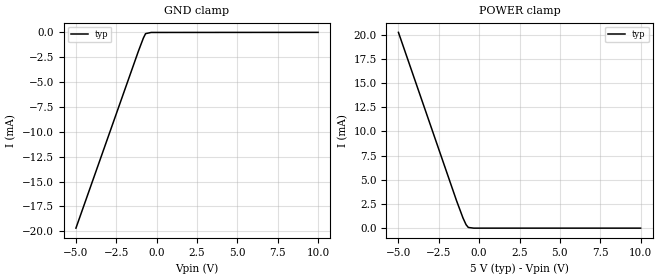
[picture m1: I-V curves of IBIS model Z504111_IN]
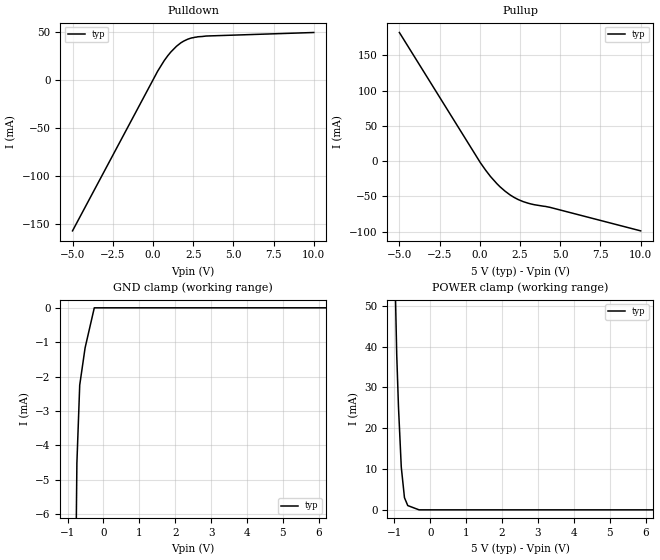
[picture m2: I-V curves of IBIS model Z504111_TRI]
| YOU ARE ONLY AUTHORIZED TO USE THIS SOFTWARE
| ACCORDING TO LICENSOR'S LICENSE RESTRICTIONS.
[IBIS Ver] 3.1
[File Name] mc54hc534j.ibs
[File Rev] 2.0
[Source] Measured and created by ICX Technology
[Date] Friday 7/14/00 9:08:07 AM
[Copyright]
| (C) COPYRIGHT 1993-2000
| MENTOR GRAPHICS CORPORATION
| ICX STANDARD LIBRARY, ICX PROJECT MODELING,
| ICX CUSTOM MODELING, ICX VENDOR MODEL
| ALL RIGHTS RESERVED.
| THE FOLLOWING ARE TRADEMARKS OR SERVICE MARKS OF
| MENTOR GRAPHICS CORPORATION:ICX (R), ICX STANDARD
| LIBRARY(R), ICX PROJECT MODELING(R), ICX CUSTOM
| MODELING(R), qualityIBIS(TM), MODELVIEWER(TM),
| AND MODELEDITOR(TM)
| ALL COPIES OF SOFTWARE, INCLUDING BUT NOT LIMITED TO
| ANY MODIFICATIONS, ENHANCEMENTS OR DERIVATIVE WORKS,
| MUST CONTAIN ALL MENTOR GRAPHICS CORPORATION'S
| NOTICES AND LEGENDS, INCLUDING THOSE EMBEDDED IN
| SOFTWARE AND THOSE AFFIXED TO SOFTWARE MEDIUM
| AND CONTAINER, AS RECEIVED FROM MENTOR GRAPHICS
| CORPORATION.
|  ZAP Model Builder 2.7
[Component] MC54HC534J
[Manufacturer] OnSemiconductor
[Package]
| variable   typ   min   max
R_pkg  .216ohms NA NA
L_pkg  5.76nH NA NA
C_pkg  2.193pF NA NA
[Pin] signal_name  model_name  R_pin  L_pin C_pin
1 _OE Z504111_IN .232 9.76n 3.179p
2 _Q0 Z504111_TRI .224 7.26n 2.686p
3 D0 Z504111_IN .216 5.26n 2.193p
4 D1 Z504111_IN .208 3.76n 1.7p
5 _Q1 Z504111_TRI .2 2.76n 1.207p
6 _Q2 Z504111_TRI .2 2.76n 1.207p
7 D2 Z504111_IN .208 3.76n 1.7p
8 D3 Z504111_IN .216 5.26n 2.193p
9 _Q3 Z504111_TRI .224 7.26n 2.686p
10 GND GND .232 9.76n 3.179p
11 CLK Z504111_IN .232 9.76n 3.179p
12 _Q4 Z504111_TRI .224 7.26n 2.686p
13 D4 Z504111_IN .216 5.26n 2.193p
14 D5 Z504111_IN .208 3.76n 1.7p
15 _Q5 Z504111_TRI .2 2.76n 1.207p
16 _Q6 Z504111_TRI .2 2.76n 1.207p
17 D6 Z504111_IN .208 3.76n 1.7p
18 D7 Z504111_IN .216 5.26n 2.193p
19 _Q7 Z504111_TRI .224 7.26n 2.686p
20 VCC POWER .232 9.76n 3.179p
| Models and submodels in the file (2): Z504111_IN (Input), Z504111_TRI (3-state)
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| (C) COPYRIGHT 1993-2000
| MENTOR GRAPHICS CORPORATION
| ICX STANDARD LIBRARY, ICX PROJECT MODELING,
| ICX CUSTOM MODELING, ICX VENDOR MODEL
| ALL RIGHTS RESERVED.
| THE FOLLOWING ARE TRADEMARKS OR SERVICE MARKS OF
| MENTOR GRAPHICS CORPORATION:ICX (R), ICX STANDARD
| LIBRARY(R), ICX PROJECT MODELING(R), ICX CUSTOM
| MODELING(R), qualityIBIS(TM), MODELVIEWER(TM),
| AND MODELEDITOR(TM)
| ALL COPIES OF SOFTWARE, INCLUDING BUT NOT LIMITED TO
| ANY MODIFICATIONS, ENHANCEMENTS OR DERIVATIVE WORKS,
| MUST CONTAIN ALL MENTOR GRAPHICS CORPORATION'S
| NOTICES AND LEGENDS, INCLUDING THOSE EMBEDDED IN
| SOFTWARE AND THOSE AFFIXED TO SOFTWARE MEDIUM
| AND CONTAINER, AS RECEIVED FROM MENTOR GRAPHICS
| CORPORATION.
| Model Application Version 1.89 2/18/99.
[Model] Z504111_IN
Model_type Input
Vinl = 1.000V
Vinh = 3.500V
C_comp 4.000pF NA NA
| variable typ   min   max
[Voltage Range] 5.000V NA NA
[GND Clamp Reference] 0.000V NA NA
[POWER Clamp Reference] 5.000V NA NA
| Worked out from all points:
|   POWER clamp passes 1 mA (typ) near -0.99 V on its own axis
[GND Clamp]
-5V       -19.69mA   NA         NA
-1.132V   -1.896mA   NA         NA
-822.7mV  -570.6uA   NA         NA
-686.2mV  -125.8uA   NA         NA
-343.1mV  -5.404uA   NA         NA
10V       2.724uA    NA         NA
[POWER Clamp]
-5V       20.23mA    NA         NA
-1.404V   2.852mA    NA         NA
-1.002V   1.053mA    NA         NA
-810mV    355.5uA    NA         NA
-671mV    70.46uA    NA         NA
-335.5mV  0A         NA         NA
10V       0A         NA         NA
| (C) COPYRIGHT 1993-2000
| MENTOR GRAPHICS CORPORATION
| ICX STANDARD LIBRARY, ICX PROJECT MODELING,
| ICX CUSTOM MODELING, ICX VENDOR MODEL
| ALL RIGHTS RESERVED.
| THE FOLLOWING ARE TRADEMARKS OR SERVICE MARKS OF
| MENTOR GRAPHICS CORPORATION:ICX (R), ICX STANDARD
| LIBRARY(R), ICX PROJECT MODELING(R), ICX CUSTOM
| MODELING(R), qualityIBIS(TM), MODELVIEWER(TM),
| AND MODELEDITOR(TM)
| ALL COPIES OF SOFTWARE, INCLUDING BUT NOT LIMITED TO
| ANY MODIFICATIONS, ENHANCEMENTS OR DERIVATIVE WORKS,
| MUST CONTAIN ALL MENTOR GRAPHICS CORPORATION'S
| NOTICES AND LEGENDS, INCLUDING THOSE EMBEDDED IN
| SOFTWARE AND THOSE AFFIXED TO SOFTWARE MEDIUM
| AND CONTAINER, AS RECEIVED FROM MENTOR GRAPHICS
| CORPORATION.
| Model Application Version 1.89 2/18/99.
[Model] Z504111_TRI
Model_type 3-state
Vref=0.000V
Rref=500.0Mohms
Cref=50.00pF
Vmeas=2.500V
C_comp 8.000pF NA NA
| variable typ   min   max
[Voltage Range] 5.000V NA NA
[POWER Clamp Reference] 5.000V NA NA
[Pullup Reference] 5.000V NA NA
[Pulldown Reference] 0.000V NA NA
[GND Clamp Reference] 0.000V NA NA
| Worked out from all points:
|   slope of the pulldown table from 0 to 0.75 V, typ, clamps not added: 35.1 ohm
|   slope of the pullup table from 0 to 0.75 V, typ, clamps not added: 32.6 ohm
[GND Clamp]
-5V       -504.7mA   NA         NA
-1.264V   -57.96mA   NA         NA
-741.6mV  -4.524mA   NA         NA
-662.8mV  -2.25mA    NA         NA
-512.5mV  -1.164mA   NA         NA
-256.2mV  0A         NA         NA
10V       0A         NA         NA
[Pulldown]
-5V       -157.2mA   NA         NA
297.3mV   9.264mA    NA         NA
916.7mV   25.14mA    NA         NA
1.465V    35.14mA    NA         NA
1.739V    38.76mA    NA         NA
2.154V    42.43mA    NA         NA
2.791V    45.03mA    NA         NA
10V       49.48mA    NA         NA
[Pullup]
-5V       182.5mA    NA         NA
39mV      -2.367mA   NA         NA
656mV     -21.55mA   NA         NA
1.064V    -32.02mA   NA         NA
1.574V    -42.68mA   NA         NA
2.38V     -54.43mA   NA         NA
3.013V    -59.74mA   NA         NA
4.34V     -65.43mA   NA         NA
10V       -98.92mA   NA         NA
[POWER Clamp]
-5V       2.782A     NA         NA
-1.275V   209.1mA    NA         NA
-1.072V   92.51mA    NA         NA
-938mV    38.08mA    NA         NA
-889mV    25.23mA    NA         NA
-811mV    10.49mA    NA         NA
-722mV    2.98mA     NA         NA
-630mV    1.045mA    NA         NA
-315mV    0A         NA         NA
10V       0A         NA         NA
[Ramp]
| variable typ min max
dV/dt_r 2.843/1.707n NA NA
dV/dt_f 2.843/1.428n NA NA
R_load = 500.0Ohms
